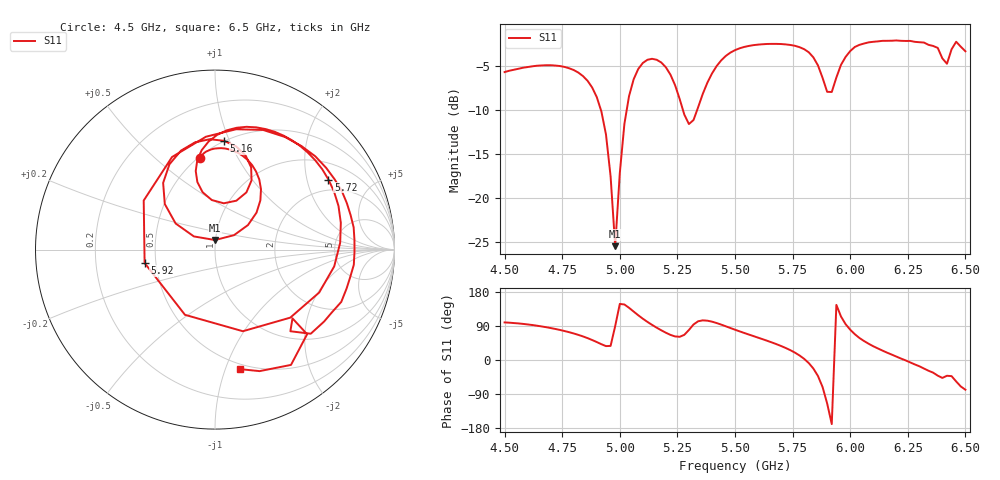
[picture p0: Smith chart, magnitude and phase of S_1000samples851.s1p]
! TOUCHSTONE file generated by CST MICROWAVE STUDIO
! Date and time: Sat Oct 29 14:39:29 2022
! Project name: L.cst
! Parameters = {Di=1.27; Epsilon_r=1.56; InnerDiameter=1.27; Length=2; Lf=10; Lg=60; OuterConductorThickness=0.2921; OuterDiameter=3.6; Wf=3; Wp=41.2; de=1.5; df=6.8; g=0.8; gx=0.631183; gy=2.30956; h=2.34; hf=1.524; px=12.9524; py=12.63; w=9.7; wx=12.3212; wy=10.3205}
! Header version: 2018
! Port assignment regex: !\s*Touchstone port\s*([0-9]+)\s*=\s*(CST MWS port|CST DS port)\s*([0-9]+|Zmin|Zmax)\s*\(\"(.*)\"\)(\s*mode\s*([0-9]+))?.*
! Touchstone port assignment:
! Touchstone port 1 = CST MWS port 1 ("")
# GHz S DB R 50
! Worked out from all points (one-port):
!   101 points, 4.5 GHz to 6.5 GHz, reference 50 ohm
!   lowest |S11| = -25.5 dB at 4.98 GHz (marker M1), VSWR 1.11, Z = 49.8 + j5.32 ohm
!   |S11| at or under -10 dB: 4.918 GHz to 5.03 GHz (112.3 MHz wide, 2.26 % of centre); 5.274 GHz to 5.336 GHz (62.12 MHz wide, 1.17 % of centre)
!   S11 on the Smith chart (normalised r, x): 4.5 GHz: 0.51, +0.71; 5.16 GHz: 0.50, +0.95; 5.72 GHz: 1.56, +2.71; 5.92 GHz: 0.43, -0.08; 6.5 GHz: 0.45, -1.12
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4.5  -5.72 99.2
4.76  -5.13 76.4
4.92  -10.18 41.7
4.96  -17.54 37.2
4.98  -25.46 89.5
5  -17.17 148.0
5.02  -11.59 146.4
5.06  -6.54 127.8
5.16  -4.32 85.3
5.26  -8.79 61.2
5.3  -11.61 79.3
5.38  -6.93 103.8
5.5  -3.23 79.9
5.62  -2.56 54.9
5.72  -2.58 31.7
5.76  -2.74 19.5
5.84  -4.04 -22.4
5.88  -6.37 -71.2
5.9  -7.96 -114.7
5.92  -7.98 -169.2
5.96  -4.90 114.9
6  -3.34 80.0
6.1  -2.28 36.3
6.26  -2.18 -6.2
6.4  -4.16 -47.3
6.44  -3.14 -42.6
6.46  -2.28 -56.6
6.5  -3.35 -78.4
